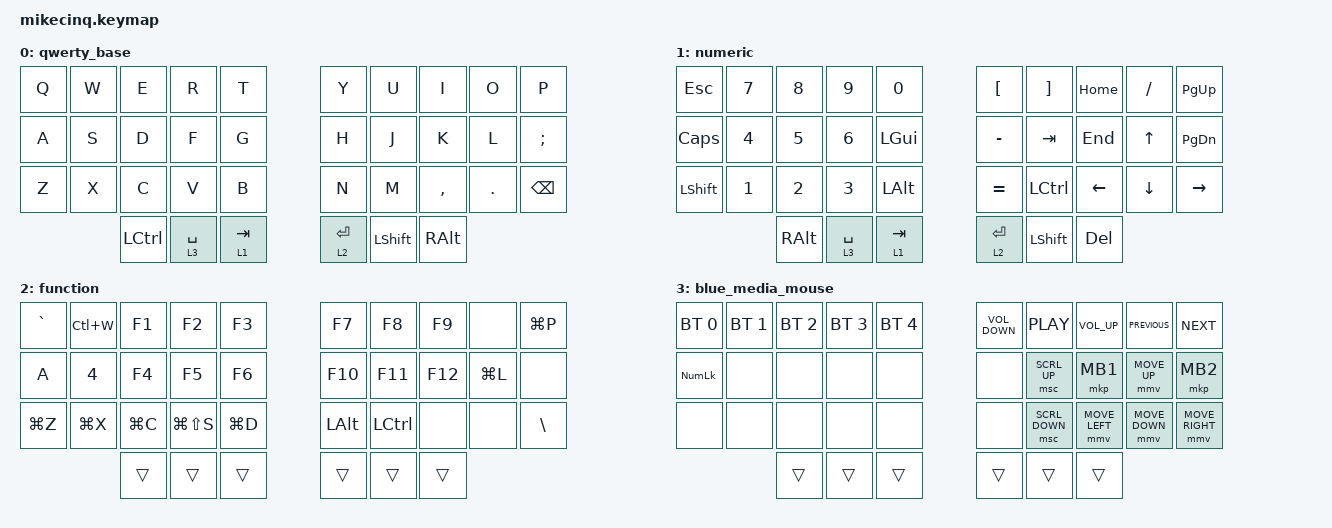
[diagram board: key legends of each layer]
#include <behaviors.dtsi>
#include <dt-bindings/zmk/bt.h>
#include <dt-bindings/zmk/keys.h>
#include <dt-bindings/zmk/pointing.h>

&led_strip { chain-length = <1>; };

/ {
    combos {
        compatible = "zmk,combos";

        capsword {
            bindings = <&caps_word>;
            key-positions = <13 16>;
            layers = <0 1>;
            timeout-ms = <50>;
        };

        System_Layer {
            bindings = <&mo 0>;
            key-positions = <32 30>;
            layers = <0 1>;
            timeout-ms = <50>;
        };
    };

    behaviors {
        as: as {
            compatible = "zmk,behavior-hold-tap";
            label = "AS";
            bindings = <&kp>, <&kp>;

            #binding-cells = <2>;
            tapping-term-ms = <200>;
            quick-tap-ms = <0>;
            flavor = "tap-preferred";
        };
    };

    keymap {
        compatible = "zmk,keymap";

        qwerty_base {
            bindings = <
&kp Q  &kp W  &kp E      &kp R        &kp T      &kp Y        &kp U      &kp I      &kp O    &kp P
&kp A  &kp S  &kp D      &kp F        &kp G      &kp H        &kp J      &kp K      &kp L    &kp SEMI
&kp Z  &kp X  &kp C      &kp V        &kp B      &kp N        &kp M      &kp COMMA  &kp DOT  &kp BSPC
              &kp LCTRL  &lt 3 SPACE  &lt 1 TAB  &lt 2 ENTER  &kp LSHFT  &kp RALT
            >;
        };

        numeric {
            bindings = <
&kp ESC    &kp N7  &kp N8    &kp N9       &kp N0     &kp LBKT     &kp RBKT   &kp HOME  &kp FSLH  &kp PG_UP
&kp CAPS   &kp N4  &kp N5    &kp N6       &kp LGUI   &kp MINUS    &kp TAB    &kp END   &kp UP    &kp PG_DN
&kp LSHFT  &kp N1  &kp N2    &kp N3       &kp LALT   &kp EQUAL    &kp LCTRL  &kp LEFT  &kp DOWN  &kp RIGHT
                   &kp RALT  &lt 3 SPACE  &lt 1 TAB  &lt 2 ENTER  &kp LSHFT  &kp DEL
            >;
        };

        function {
            bindings = <
&kp GRAVE  &kp LC(W)     &kp F1     &kp F2         &kp F3     &kp F7        &kp F8            &kp F9   &none      &kp LG(P)
&kp A      &kp NUMBER_4  &kp F4     &kp F5         &kp F6     &kp F10       &kp F11           &kp F12  &kp LG(L)  &none
&kp LG(Z)  &kp LG(X)     &kp LG(C)  &kp LG(LS(S))  &kp LG(D)  &kp LEFT_ALT  &kp LEFT_CONTROL  &none    &none      &kp BACKSLASH
                         &trans     &trans         &trans     &trans        &trans            &trans
            >;
        };

        blue_media_mouse {
            bindings = <
&bt BT_SEL 0    &bt BT_SEL 1  &bt BT_SEL 2  &bt BT_SEL 3  &bt BT_SEL 4  &kp C_VOLUME_DOWN  &kp C_PLAY      &kp C_VOLUME_UP  &kp C_PREVIOUS  &kp C_NEXT
&kp KP_NUMLOCK  &none         &none         &none         &none         &none              &msc SCRL_UP    &mkp MB1         &mmv MOVE_UP    &mkp MB2
&none           &none         &none         &none         &none         &none              &msc SCRL_DOWN  &mmv MOVE_LEFT   &mmv MOVE_DOWN  &mmv MOVE_RIGHT
                              &trans        &trans        &trans        &trans             &trans          &trans
            >;
        };
    };
};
